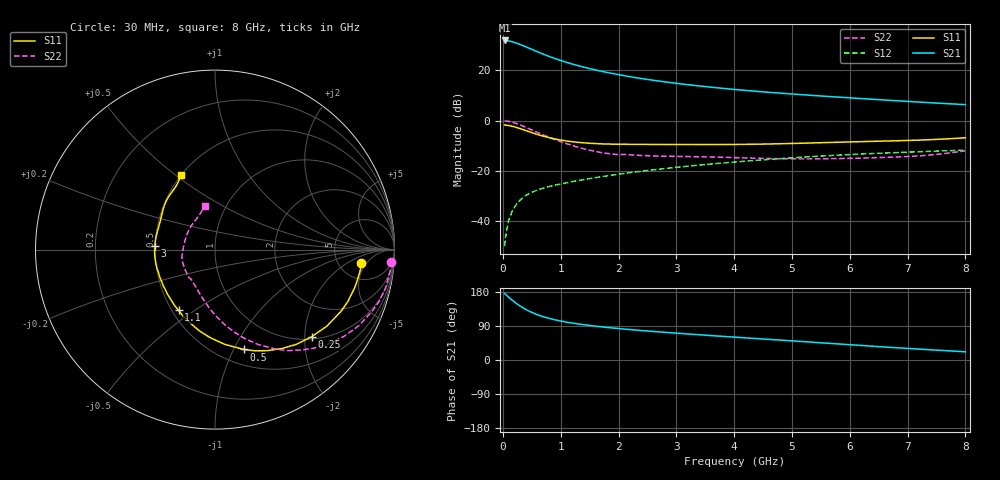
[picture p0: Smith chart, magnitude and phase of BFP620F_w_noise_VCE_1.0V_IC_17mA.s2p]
! Infineon Technologies  Discrete & RF Semiconductors
! BFP620F
! VCE =  1.0 V,  IC =  17 mA
! Common Emitter S-Parameters:  Dec 2014
# GHz  S  MA  R  50
!  f  S11  S21  S12  S22
! GHz  MAG  ANG  MAG  ANG  MAG  ANG  MAG  ANG
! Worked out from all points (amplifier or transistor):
!   95 points, 30 MHz to 8 GHz, reference 50 ohm
!   highest |S21| = 31.9 dB at 40 MHz (marker M1)
!   |S21| within 3 dB of that: start of sweep to 444.3 MHz
!   unconditionally stable (mu >= 1): 3.206 GHz to end of sweep
!   at 300 MHz: K = 0.25, MSG = 30.9 dB, |S12| = -31.5 dB
!   at 3.3 GHz: K = 1.00, MAG = 15.6 dB, |S12| = -17.9 dB
!   at 8 GHz: K = 1.07, MAG = 7.4 dB, |S12| = -11.7 dB
!   lowest NFmin = 0.76 dB at 450 MHz
!   S11 on the Smith chart (normalised r, x): 30 MHz: 8.25, -3.88; 250 MHz: 1.06, -2.16; 500 MHz: 0.66, -1.10; 1.1 GHz: 0.54, -0.43; 3 GHz: 0.50, +0.02; 8 GHz: 0.50, +0.52
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0.03  0.8197 -5.4  39.37 175.6  0.0032 91.7  0.9823 -3.9
0.04  0.8182 -7.2  39.38 174.1  0.0041 88.1  0.9831 -5.4
0.08  0.8085 -14.3  39.03 168.5  0.0079 84.6  0.9755 -11.3
0.15  0.7807 -26.4  37.42 159.2  0.015 76.6  0.9411 -21.3
0.2  0.755 -34.4  35.93 153.2  0.0189 73.4  0.9069 -27.9
0.25  0.7248 -42.1  34.36 147.4  0.0231 70.6  0.8656 -34.0
0.3  0.6959 -49.3  32.71 142.2  0.0265 67.9  0.8233 -39.7
0.4  0.6341 -62.6  29.35 133.0  0.0328 63.6  0.7339 -49.7
0.5  0.5793 -73.9  26.17 125.6  0.0377 60.5  0.6538 -58.2
0.6  0.5304 -84.2  23.39 119.3  0.0419 58.6  0.5815 -65.5
0.7  0.4915 -93.1  21.01 114.2  0.0456 56.9  0.5201 -71.8
0.8  0.4604 -101.1  18.95 109.9  0.049 56.1  0.4669 -77.4
0.9  0.4332 -108.3  17.21 106.1  0.0523 55.4  0.4217 -82.6
1.1  0.3946 -121.0  14.47 100.0  0.0583 54.8  0.3498 -92.0
1.4  0.3635 -136.6  11.6 93.1  0.0674 54.4  0.2765 -105.0
2  0.3395 -159.4  8.232 83.1  0.0863 54.0  0.2113 -129.7
2.7  0.337 -177.0  6.137 74.2  0.1085 52.1  0.1977 -149.3
3  0.3362 176.9  5.538 70.8  0.1182 51.0  0.1956 -155.4
4.1  0.3377 158.9  4.092 59.4  0.1537 45.8  0.1829 -173.3
5.4  0.3625 143.4  3.156 46.4  0.1949 37.7  0.1746 161.1
6.7  0.396 129.0  2.537 33.4  0.2297 28.4  0.1881 133.7
8  0.4572 114.7  2.087 21.6  0.2598 19.3  0.2517 102.9
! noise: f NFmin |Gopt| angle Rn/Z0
0.45  0.76  0.1  6  0.21
0.9  0.82  0.1  17  0.18
1.5  0.87  0.09  18  0.13
1.8  0.89  0.09  19  0.13
1.9  0.9  0.05  35  0.15
2.4  0.94  0.04  56  0.13
3.5  1.02  0.04  106  0.14
5.5  1.16  0.12  -145  0.09
6  1.2  0.12  240  0.13
